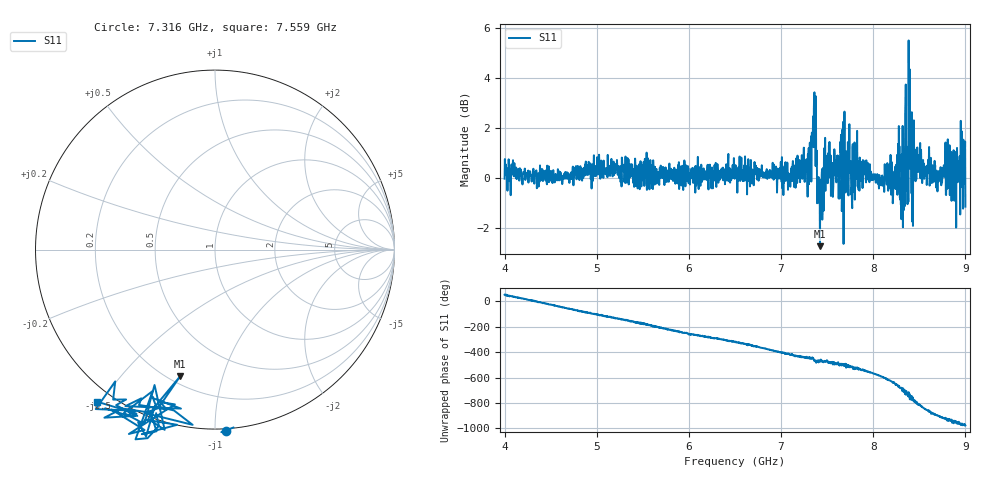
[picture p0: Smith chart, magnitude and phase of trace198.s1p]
! Created with skrf 1.8.0 (http://scikit-rf.org).
# Hz S RI R 50.0
!freq ReS11 ImS11
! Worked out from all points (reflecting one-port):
!   1601 points, 4 GHz to 9 GHz, reference 50 ohm
!   lowest |S11| = -2.7 dB at 7.422 GHz (marker M1), VSWR 6.45, Z = 12.1 - j36.7 ohm
!   phase of S11 starts at 53 deg and turns -1029 deg over the sweep
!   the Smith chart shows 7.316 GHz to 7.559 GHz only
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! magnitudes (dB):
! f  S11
! 4 GHz  0.0
! 4.625 GHz  -0.2
! 5.25 GHz  0.0
! 5.875 GHz  0.0
! 6.5 GHz  0.3
! 7.125 GHz  0.5
! 7.303 GHz  -0.2
! 7.356 GHz  2.8
! 7.381 GHz  0.5
! 7.4 GHz  -0.3
! 7.422 GHz  -2.7
! 7.503 GHz  0.5
! 7.553 GHz  0.2
! 7.662 GHz  -0.6
! 7.75 GHz  0.3
! 8.097 GHz  0.1
! 8.238 GHz  -0.1
! 8.259 GHz  0.9
! 8.316 GHz  -0.2
! 8.331 GHz  -1.3
! 8.356 GHz  1.8
! 8.375 GHz  0.2
! 8.447 GHz  1.2
! 8.459 GHz  -0.1
! 8.503 GHz  0.9
! 8.7 GHz  0.1
! 8.972 GHz  0.5
! 9 GHz  -1.1
